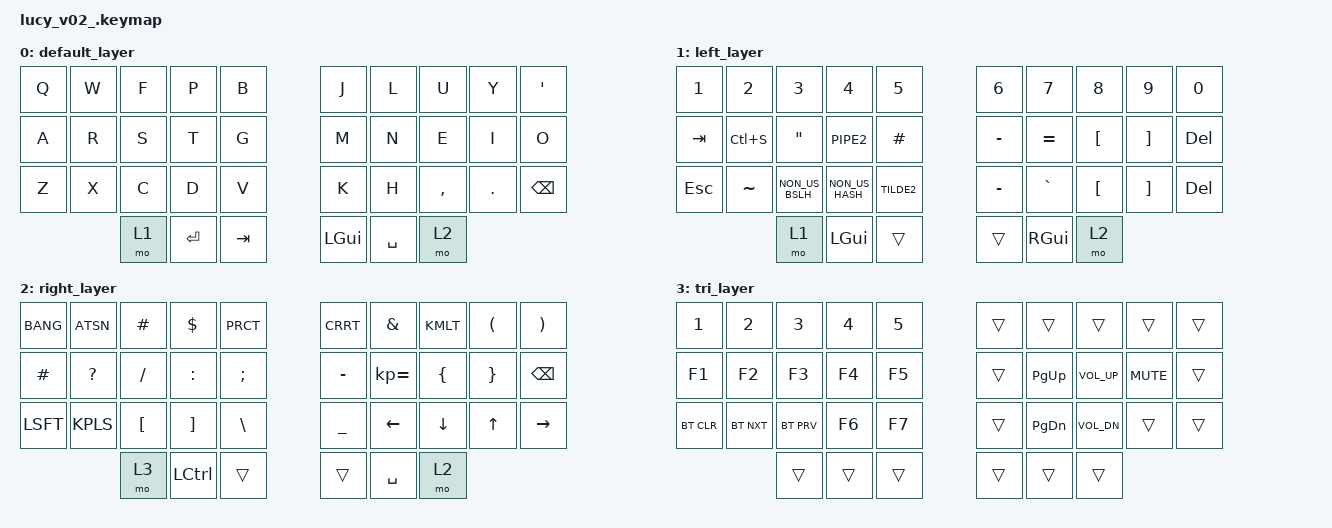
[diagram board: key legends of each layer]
    /*
 * Copyright (c) 2020 The ZMK Contributors
 *
 * SPDX-License-Identifier: MIT
 */

#include <behaviors.dtsi>
#include <dt-bindings/zmk/keys.h>
#include <dt-bindings/zmk/bt.h>


&mt {
  //  flavor = "tap-preferred";
   // tapping_term_ms = <200>;
};

/ { 

        keymap {
                compatible = "zmk,keymap";
                
       		default_layer {
		bindings = <
		&kp Q &kp W &kp F &kp P &kp B 						&kp J &kp L  &kp U    &kp Y   &kp APOS
		&kp A &kp R &kp S &kp T &kp G 			        	&kp M &kp N &kp E &kp I &kp O
		&kp Z &kp X &kp C &kp D &kp V				        &kp K &kp H  &kp CMMA &kp DOT &kp BKSP
          				&mo 1 &kp RET &kp TAB  				&kp LGUI &kp SPC &mo 2
		>;
		};

       		left_layer {
		bindings = <
		&kp NUM_1  &kp NUM_2    &kp NUM_3    &kp NUM_4    &kp NUM_5		&kp NUM_6 &kp NUM_7 &kp NUM_8 &kp NUM_9 &kp NUM_0 
		&kp TAB    &kp LC(S)    &kp DQT      &kp PIPE2     &kp HASH 		&kp MINUS &kp EQL  &kp LBKT &kp RBKT  &kp DEL 
		&kp ESC    &kp TILDE 	&kp NON_US_BSLH &kp NON_US_HASH  &kp TILDE2 	&kp MINUS &kp GRAVE &kp LBKT &kp RBKT  &kp DEL 
					    &mo 1  &kp LGUI &trans  					&trans &kp RGUI &mo 2
		>;
		};
		
		right_layer {
		bindings = <
		&kp BANG  &kp ATSN &kp HASH  &kp DLLR  &kp PRCT    			&kp CRRT  &kp AMPS &kp KMLT &kp LPRN &kp RPRN 
		&kp HASH  &kp QMARK  &kp FSLH  &kp COLN  &kp SCLN 			&kp MINUS &kp KP_EQUAL  &kp LBRC  &kp RBRC   &kp BKSP
		&kp LSFT  &kp KPLS &kp LBKT &kp RBKT   &kp BSLH    			&kp UNDER &kp LEFT &kp DOWN &kp UP  &kp RIGHT
					  &mo 3 &kp LCTL &trans  				&trans &kp SPC  &mo 2
		>;
		};	
		
		tri_layer {
		bindings = <
		&kp NUM_1  &kp NUM_2    &kp NUM_3    &kp NUM_4    &kp NUM_5 			&trans &trans   &trans   &trans  &trans
		&kp F1 &kp F2 &kp F3 &kp F4 &kp F5  						&trans &kp PG_UP  &kp K_VOL_UP &kp K_MUTE &trans 
		&bt BT_CLR  &bt BT_NXT &bt BT_PRV &kp F6 &kp F7   				&trans &kp PG_DN  &kp K_VOL_DN  &trans &trans   
					&trans &trans &trans  					&trans &trans &trans
		>;
		};	
        
	};
};
